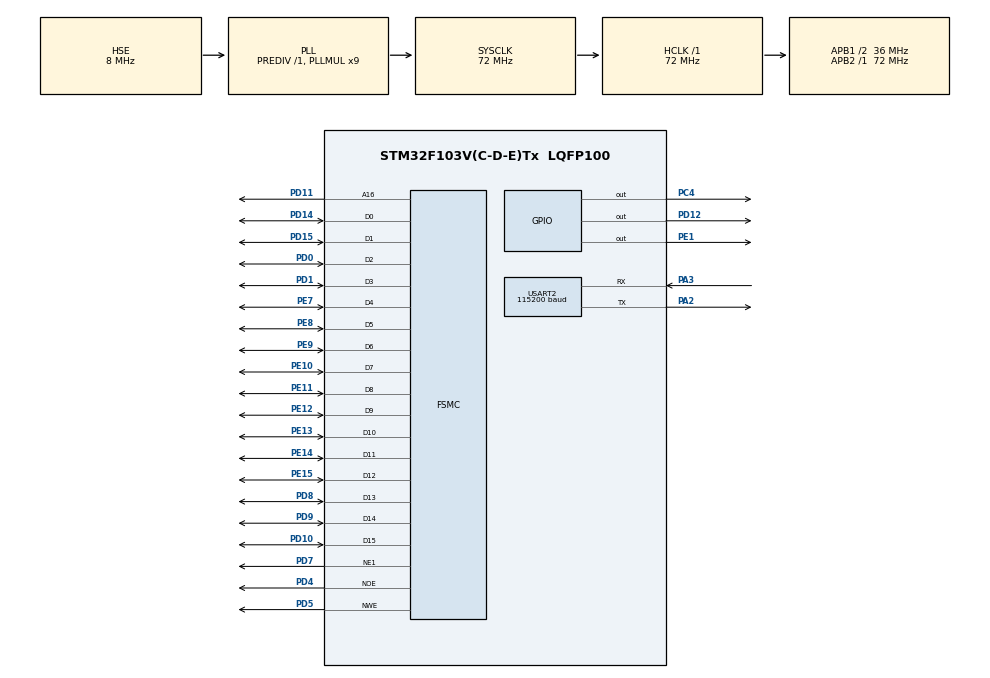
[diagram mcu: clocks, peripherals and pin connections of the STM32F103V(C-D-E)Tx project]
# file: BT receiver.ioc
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Mcu.Family=STM32F1
Mcu.Name=STM32F103V(C-D-E)Tx
Mcu.Package=LQFP100
NVIC.PriorityGroup=NVIC_PRIORITYGROUP_4
NVIC.USART2_IRQn=true\:0\:0\:false\:false\:true\:true\:true\:true
OSC_IN.Mode=HSE-External-Oscillator
OSC_IN.Signal=RCC_OSC_IN
OSC_OUT.Mode=HSE-External-Oscillator
OSC_OUT.Signal=RCC_OSC_OUT
PA2.Mode=Asynchronous
PA2.Signal=USART2_TX
PA3.Mode=Asynchronous
PA3.Signal=USART2_RX
PC14-OSC32_IN.Mode=LSE-External-Oscillator
PC14-OSC32_IN.Signal=RCC_OSC32_IN
PC15-OSC32_OUT.Mode=LSE-External-Oscillator
PC15-OSC32_OUT.Signal=RCC_OSC32_OUT
PC2.Signal=ADCx_IN12
PC3.Signal=ADCx_IN13
PC4.GPIO_Speed=GPIO_SPEED_FREQ_HIGH
PC4.PinState=GPIO_PIN_SET
PC4.Signal=GPIO_Output
PD0.Mode=16b-d1
PD0.Signal=FSMC_D2
PD1.Mode=16b-d1
PD1.Signal=FSMC_D3
PD10.Mode=16b-d1
PD10.Signal=FSMC_D15
PD11.Mode=A16_1
PD11.Signal=FSMC_A16
PD12.GPIO_Speed=GPIO_SPEED_FREQ_HIGH
PD12.PinState=GPIO_PIN_SET
PD12.Signal=GPIO_Output
PD14.Mode=16b-d1
PD14.Signal=FSMC_D0
PD15.Mode=16b-d1
PD15.Signal=FSMC_D1
PD4.Mode=Lcd1
PD4.Signal=FSMC_NOE
PD5.Mode=Lcd1
PD5.Signal=FSMC_NWE
PD7.Mode=NorPsramChipSelect1_1
PD7.Signal=FSMC_NE1
PD8.Mode=16b-d1
PD8.Signal=FSMC_D13
PD9.Mode=16b-d1
PD9.Signal=FSMC_D14
PE1.GPIO_ModeDefaultOutputPP=GPIO_MODE_OUTPUT_PP
PE1.GPIO_Speed=GPIO_SPEED_FREQ_HIGH
PE1.PinState=GPIO_PIN_SET
PE1.Signal=GPIO_Output
PE10.Mode=16b-d1
PE10.Signal=FSMC_D7
PE11.Mode=16b-d1
PE11.Signal=FSMC_D8
PE12.Mode=16b-d1
PE12.Signal=FSMC_D9
PE13.Mode=16b-d1
PE13.Signal=FSMC_D10
PE14.Mode=16b-d1
PE14.Signal=FSMC_D11
PE15.Mode=16b-d1
PE15.Signal=FSMC_D12
PE7.Mode=16b-d1
PE7.Signal=FSMC_D4
PE8.Mode=16b-d1
PE8.Signal=FSMC_D5
PE9.Mode=16b-d1
PE9.Signal=FSMC_D6
ProjectManager.HeapSize=0x200
ProjectManager.StackSize=0x400
ProjectManager.TargetToolchain=STM32CubeIDE
RCC.ADCPresc=RCC_ADCPCLK2_DIV6
RCC.AHBFreq_Value=72000000
RCC.APB1CLKDivider=RCC_HCLK_DIV2
RCC.APB1Freq_Value=36000000
RCC.APB1TimFreq_Value=72000000
RCC.APB2Freq_Value=72000000
RCC.APB2TimFreq_Value=72000000
RCC.HCLKFreq_Value=72000000
RCC.PLLMUL=RCC_PLL_MUL9
RCC.PLLSourceVirtual=RCC_PLLSOURCE_HSE
RCC.SYSCLKFreq_VALUE=72000000
RCC.SYSCLKSource=RCC_SYSCLKSOURCE_PLLCLK
RCC.USBFreq_Value=72000000
SH.ADCx_IN12.0=ADC1_IN12
SH.ADCx_IN13.0=ADC2_IN13
USART2.BaudRate=115200
USART2.VirtualMode=VM_ASYNC
VP_SYS_VS_ND.Mode=No_Debug
board=custom

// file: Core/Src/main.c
/* USER CODE BEGIN Header */
/**
  ******************************************************************************
  * @file           : main.c
  * @brief          : Main program body
  ******************************************************************************
  * @attention
  *
  * Copyright (c) 2025 STMicroelectronics.
  * All rights reserved.
  *
  * This software is licensed under terms that can be found in the LICENSE file
  * in the root directory of this software component.
  * If no LICENSE file comes with this software, it is provided AS-IS.
  *
  ******************************************************************************
  */
/* USER CODE END Header */
#include "main.h"

/* USER CODE BEGIN Includes */
#include "lcd.h"
#include <stdio.h>
#include <string.h>

/* USER CODE END Includes */

UART_HandleTypeDef huart2;

SRAM_HandleTypeDef hsram1;

/* USER CODE BEGIN PV */
int16_t cal_value[2];   // Calibrated values (-3 to +3)
char buff[32];          // Buffer for string formatting

uint8_t Data[3];																				//BT

uint8_t joybut_pressed = 0;         //b9 pressed?

/* USER CODE END PV */

void SystemClock_Config(void);
static void MX_GPIO_Init(void);
static void MX_FSMC_Init(void);
static void MX_USART2_UART_Init(void);

/* USER CODE BEGIN 0 */

void HAL_UARTEx_RxCpltCallback(UART_HandleTypeDef *huart, uint16_t Size)
{
  if(huart->Instance==USART2)
  {
      sprintf(buff, "RX OK %d", Size);  // This is good for debugging
      LCD_DrawString(10, 140, buff);
      sprintf(buff, "D0:%3d D1:%3d D2:%3d", Data[0], Data[1], Data[2]);  // This is good for debugging
      LCD_DrawString(10, 160, buff);

  }
  HAL_UARTEx_ReceiveToIdle_IT(&huart2, Data, 3); 												// BT
}

/* USER CODE END 0 */

int main(void)
{

  /* MCU Configuration--------------------------------------------------------*/

  /* Reset of all peripherals, Initializes the Flash interface and the Systick. */
  HAL_Init();

  /* Configure the system clock */
  SystemClock_Config();

  /* Initialize all configured peripherals */
  MX_GPIO_Init();
  MX_FSMC_Init();
  MX_USART2_UART_Init();
  /* USER CODE BEGIN 2 */

  LCD_INIT();

  LCD_DrawString(100, 35, "X       Y");
  LCD_DrawString(10, 60, "Joystick:");

  /* USER CODE END 2 */

  /* Infinite loop */
  while (1)
  {

    /* USER CODE BEGIN 3 */
    // Simple polling receive
    if (HAL_UART_Receive(&huart2, Data, 3, 100) == HAL_OK)
    {
        // Successfully received data
        sprintf(buff, "RX OK");
        LCD_DrawString(10, 140, buff);
        sprintf(buff, "D0:%3d D1:%3d D2:%3d", Data[0], Data[1], Data[2]);
        LCD_DrawString(10, 160, buff);
    }

    // Default: not pressed
    joybut_pressed = 0;

    // Decode Data[0]
    switch (Data[0]) {
        case 35: cal_value[0] = -5; joybut_pressed = 1; break;
        case 34: cal_value[0] = -4; joybut_pressed = 1; break;
        case 33: cal_value[0] = -3; joybut_pressed = 1; break;
        case 32: cal_value[0] = -2; joybut_pressed = 1; break;
        case 31: cal_value[0] = -1; joybut_pressed = 1; break;
        case 20: cal_value[0] = 0;  joybut_pressed = 1; break;
        case 21: cal_value[0] = 1;  joybut_pressed = 1; break;
        case 22: cal_value[0] = 2;  joybut_pressed = 1; break;
        case 23: cal_value[0] = 3;  joybut_pressed = 1; break;
        case 24: cal_value[0] = 4;  joybut_pressed = 1; break;
        case 25: cal_value[0] = 5;  joybut_pressed = 1; break;
        case 15: cal_value[0] = -5; break;
        case 14: cal_value[0] = -4; break;
        case 13: cal_value[0] = -3; break;
        case 12: cal_value[0] = -2; break;
        case 11: cal_value[0] = -1; break;
        case 0:  cal_value[0] = 0;  break;
        case 1:  cal_value[0] = 1;  break;
        case 2:  cal_value[0] = 2;  break;
        case 3:  cal_value[0] = 3;  break;
        case 4:  cal_value[0] = 4;  break;
        case 5:  cal_value[0] = 5;  break;
        default: cal_value[0] = 0;  break;
    }

    // Decode Data[1]
    switch (Data[1]) {
        case 35: cal_value[1] = -5; joybut_pressed = 1; break;
        case 34: cal_value[1] = -4; joybut_pressed = 1; break;
        case 33: cal_value[1] = -3; joybut_pressed = 1; break;
        case 32: cal_value[1] = -2; joybut_pressed = 1; break;
        case 31: cal_value[1] = -1; joybut_pressed = 1; break;
        case 20: cal_value[1] = 0;  joybut_pressed = 1; break;
        case 21: cal_value[1] = 1;  joybut_pressed = 1; break;
        case 22: cal_value[1] = 2;  joybut_pressed = 1; break;
        case 23: cal_value[1] = 3;  joybut_pressed = 1; break;
        case 24: cal_value[1] = 4;  joybut_pressed = 1; break;
        case 25: cal_value[1] = 5;  joybut_pressed = 1; break;
        case 15: cal_value[1] = -5; break;
        case 14: cal_value[1] = -4; break;
        case 13: cal_value[1] = -3; break;
        case 12: cal_value[1] = -2; break;
        case 11: cal_value[1] = -1; break;
        case 0:  cal_value[1] = 0;  break;
        case 1:  cal_value[1] = 1;  break;
        case 2:  cal_value[1] = 2;  break;
        case 3:  cal_value[1] = 3;  break;
        case 4:  cal_value[1] = 4;  break;
        case 5:  cal_value[1] = 5;  break;
        default: cal_value[1] = 0;  break;
    }

    // Display calibrated values
    sprintf(buff, "%3d", cal_value[0]);
    LCD_DrawString(100, 60, buff);

    sprintf(buff, "%3d", cal_value[1]);
    LCD_DrawString(160, 60, buff);

    sprintf(buff, "B:%3d", Data[2]);
    LCD_DrawString(20, 120, buff);

    sprintf(buff, "joybut:%3d", joybut_pressed);
    LCD_DrawString(20, 90, buff);

    HAL_Delay(50);
  }
  /* USER CODE END 3 */
}

void SystemClock_Config(void)
{
  RCC_OscInitTypeDef RCC_OscInitStruct = {0};
  RCC_ClkInitTypeDef RCC_ClkInitStruct = {0};

  /** Initializes the RCC Oscillators according to the specified parameters
  * in the RCC_OscInitTypeDef structure.
  */
  RCC_OscInitStruct.OscillatorType = RCC_OSCILLATORTYPE_HSE;
  RCC_OscInitStruct.HSEState = RCC_HSE_ON;
  RCC_OscInitStruct.HSEPredivValue = RCC_HSE_PREDIV_DIV1;
  RCC_OscInitStruct.HSIState = RCC_HSI_ON;
  RCC_OscInitStruct.PLL.PLLState = RCC_PLL_ON;
  RCC_OscInitStruct.PLL.PLLSource = RCC_PLLSOURCE_HSE;
  RCC_OscInitStruct.PLL.PLLMUL = RCC_PLL_MUL9;
  if (HAL_RCC_OscConfig(&RCC_OscInitStruct) != HAL_OK)
  {
    Error_Handler();
  }

  /** Initializes the CPU, AHB and APB buses clocks
  */
  RCC_ClkInitStruct.ClockType = RCC_CLOCKTYPE_HCLK|RCC_CLOCKTYPE_SYSCLK
                              |RCC_CLOCKTYPE_PCLK1|RCC_CLOCKTYPE_PCLK2;
  RCC_ClkInitStruct.SYSCLKSource = RCC_SYSCLKSOURCE_PLLCLK;
  RCC_ClkInitStruct.AHBCLKDivider = RCC_SYSCLK_DIV1;
  RCC_ClkInitStruct.APB1CLKDivider = RCC_HCLK_DIV2;
  RCC_ClkInitStruct.APB2CLKDivider = RCC_HCLK_DIV1;

  if (HAL_RCC_ClockConfig(&RCC_ClkInitStruct, FLASH_LATENCY_2) != HAL_OK)
  {
    Error_Handler();
  }
}

static void MX_USART2_UART_Init(void)
{

  huart2.Instance = USART2;
  huart2.Init.BaudRate = 115200;
  huart2.Init.WordLength = UART_WORDLENGTH_8B;
  huart2.Init.StopBits = UART_STOPBITS_1;
  huart2.Init.Parity = UART_PARITY_NONE;
  huart2.Init.Mode = UART_MODE_TX_RX;
  huart2.Init.HwFlowCtl = UART_HWCONTROL_NONE;
  huart2.Init.OverSampling = UART_OVERSAMPLING_16;
  if (HAL_UART_Init(&huart2) != HAL_OK)
  {
    Error_Handler();
  }

}

static void MX_GPIO_Init(void)
{
  GPIO_InitTypeDef GPIO_InitStruct = {0};

  /* GPIO Ports Clock Enable */
  __HAL_RCC_GPIOC_CLK_ENABLE();
  __HAL_RCC_GPIOA_CLK_ENABLE();
  __HAL_RCC_GPIOE_CLK_ENABLE();
  __HAL_RCC_GPIOD_CLK_ENABLE();

  /*Configure GPIO pin Output Level */
  HAL_GPIO_WritePin(GPIOC, GPIO_PIN_4, GPIO_PIN_SET);

  /*Configure GPIO pin Output Level */
  HAL_GPIO_WritePin(GPIOD, GPIO_PIN_12, GPIO_PIN_SET);

  /*Configure GPIO pin Output Level */
  HAL_GPIO_WritePin(GPIOE, GPIO_PIN_1, GPIO_PIN_SET);

  /*Configure GPIO pins : PC2 PC3 */
  GPIO_InitStruct.Pin = GPIO_PIN_2|GPIO_PIN_3;
  GPIO_InitStruct.Mode = GPIO_MODE_ANALOG;
  HAL_GPIO_Init(GPIOC, &GPIO_InitStruct);

  /*Configure GPIO pin : PC4 */
  GPIO_InitStruct.Pin = GPIO_PIN_4;
  GPIO_InitStruct.Mode = GPIO_MODE_OUTPUT_PP;
  GPIO_InitStruct.Pull = GPIO_NOPULL;
  GPIO_InitStruct.Speed = GPIO_SPEED_FREQ_HIGH;
  HAL_GPIO_Init(GPIOC, &GPIO_InitStruct);

  /*Configure GPIO pin : PD12 */
  GPIO_InitStruct.Pin = GPIO_PIN_12;
  GPIO_InitStruct.Mode = GPIO_MODE_OUTPUT_PP;
  GPIO_InitStruct.Pull = GPIO_NOPULL;
  GPIO_InitStruct.Speed = GPIO_SPEED_FREQ_HIGH;
  HAL_GPIO_Init(GPIOD, &GPIO_InitStruct);

  /*Configure GPIO pin : PE1 */
  GPIO_InitStruct.Pin = GPIO_PIN_1;
  GPIO_InitStruct.Mode = GPIO_MODE_OUTPUT_PP;
  GPIO_InitStruct.Pull = GPIO_NOPULL;
  GPIO_InitStruct.Speed = GPIO_SPEED_FREQ_HIGH;
  HAL_GPIO_Init(GPIOE, &GPIO_InitStruct);

}

/* FSMC initialization function */
static void MX_FSMC_Init(void)
{

  FSMC_NORSRAM_TimingTypeDef Timing = {0};

  /** Perform the SRAM1 memory initialization sequence
  */
  hsram1.Instance = FSMC_NORSRAM_DEVICE;
  hsram1.Extended = FSMC_NORSRAM_EXTENDED_DEVICE;
  /* hsram1.Init */
  hsram1.Init.NSBank = FSMC_NORSRAM_BANK1;
  hsram1.Init.DataAddressMux = FSMC_DATA_ADDRESS_MUX_DISABLE;
  hsram1.Init.MemoryType = FSMC_MEMORY_TYPE_SRAM;
  hsram1.Init.MemoryDataWidth = FSMC_NORSRAM_MEM_BUS_WIDTH_16;
  hsram1.Init.BurstAccessMode = FSMC_BURST_ACCESS_MODE_DISABLE;
  hsram1.Init.WaitSignalPolarity = FSMC_WAIT_SIGNAL_POLARITY_LOW;
  hsram1.Init.WrapMode = FSMC_WRAP_MODE_DISABLE;
  hsram1.Init.WaitSignalActive = FSMC_WAIT_TIMING_BEFORE_WS;
  hsram1.Init.WriteOperation = FSMC_WRITE_OPERATION_ENABLE;
  hsram1.Init.WaitSignal = FSMC_WAIT_SIGNAL_DISABLE;
  hsram1.Init.ExtendedMode = FSMC_EXTENDED_MODE_DISABLE;
  hsram1.Init.AsynchronousWait = FSMC_ASYNCHRONOUS_WAIT_DISABLE;
  hsram1.Init.WriteBurst = FSMC_WRITE_BURST_DISABLE;
  /* Timing */
  Timing.AddressSetupTime = 15;
  Timing.AddressHoldTime = 15;
  Timing.DataSetupTime = 255;
  Timing.BusTurnAroundDuration = 15;
  Timing.CLKDivision = 16;
  Timing.DataLatency = 17;
  Timing.AccessMode = FSMC_ACCESS_MODE_A;
  /* ExtTiming */

  if (HAL_SRAM_Init(&hsram1, &Timing, NULL) != HAL_OK)
  {
    Error_Handler( );
  }

  /** Disconnect NADV
  */

  __HAL_AFIO_FSMCNADV_DISCONNECTED();

}

void Error_Handler(void)
{
    __disable_irq();
    while (1)
    {
    }
}
